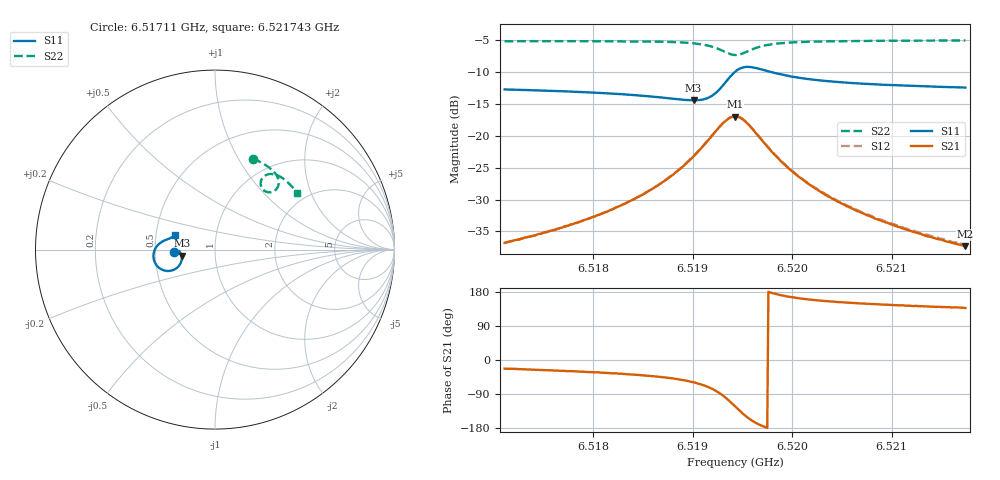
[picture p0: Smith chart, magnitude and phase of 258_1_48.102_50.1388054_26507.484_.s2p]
#  HZ  S  RI  R  50.00
! Rohde & Schwarz Vector Network Analyzer
! Rohde-Schwarz,ZNB20-2Port,1311601062101988,3.16
! Created: UTC 12/23/2023, 4:00:28 AM
! freq[Hz]  re:S11  im:S11  re:S21  im:S21  re:S12  im:S12  re:S22  im:S22
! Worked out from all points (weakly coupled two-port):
!   401 points, 6.51711 GHz to 6.521743 GHz, reference 50 ohm
!   highest |S21| = -17.01 dB at 6.519426 GHz (marker M1); lowest = -37.3 dB at 6.521743 GHz (marker M2)
!   lowest |S11| = -14.5 dB at 6.519009 GHz (marker M3), VSWR 1.47, Z = 34.3 - j2.44 ohm
!   |S11| at or under -10 dB: start of sweep to 6.519427 GHz; 6.519778 GHz to end of sweep
!   |S22| runs from -7.4 to -5.1 dB; largest |S21 - S12| = 0.0043
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6.5171098e9  -0.2296 -0.0147  0.0133 -0.00561  0.0136 -0.00517  0.2109 0.5062
6.5176079e9  -0.2235 -0.00771  0.0161 -0.00847  0.0165 -0.00802  0.2477 0.4899
6.5178859e9  -0.2192 -0.00499  0.0185 -0.0109  0.0188 -0.0103  0.2682 0.479
6.5183029e9  -0.2107 -0.00335  0.0232 -0.0175  0.0238 -0.0166  0.2996 0.4586
6.5186619e9  -0.1996 -0.00847  0.0295 -0.0288  0.0306 -0.0281  0.3273 0.4345
6.5188588e9  -0.1917 -0.0183  0.0337 -0.0417  0.0353 -0.0408  0.3426 0.4149
6.5190094e9  -0.1858 -0.0343  0.0356 -0.0589  0.0376 -0.0582  0.3523 0.3932
6.5191136e9  -0.1851 -0.0534  0.0329 -0.0774  0.0356 -0.0769  0.3551 0.3726
6.5192063e9  -0.1928 -0.0783  0.0223 -0.0999  0.0254 -0.1  0.3496 0.3492
6.5193337e9  -0.2365 -0.1152  -0.0223 -0.1291  -0.0188 -0.1306  0.3156 0.3206
6.51938e9  -0.2651 -0.1191  -0.0487 -0.1295  -0.0453 -0.132  0.2946 0.3195
6.5194264e9  -0.2958 -0.1114  -0.0752 -0.1195  -0.0724 -0.1226  0.2743 0.3282
6.5194727e9  -0.3214 -0.0923  -0.096 -0.1002  -0.094 -0.1035  0.2599 0.3448
6.5195306e9  -0.3395 -0.0601  -0.1084 -0.0699  -0.1072 -0.0736  0.2541 0.3698
6.5196233e9  -0.3398 -0.0132  -0.1036 -0.0296  -0.1037 -0.0329  0.2664 0.4013
6.5197275e9  -0.3236 0.0192  -0.0861 -0.00479  -0.0866 -0.00719  0.2896 0.4174
6.519936e9  -0.2925 0.0452  -0.057 0.0117  -0.058 0.0102  0.328 0.4201
6.5202024e9  -0.2691 0.056  -0.0373 0.0146  -0.0381 0.0136  0.3603 0.4081
6.5205267e9  -0.253 0.0623  -0.0253 0.0136  -0.026 0.013  0.388 0.3896
6.5209785e9  -0.2394 0.0687  -0.0169 0.0116  -0.0174 0.0113  0.4176 0.3627
6.5213375e9  -0.2316 0.0737  -0.0128 0.0102  -0.0134 0.0102  0.4377 0.3408
6.5217429e9  -0.2245 0.079  -0.01 0.00926  -0.0105 0.00917  0.4578 0.3157
